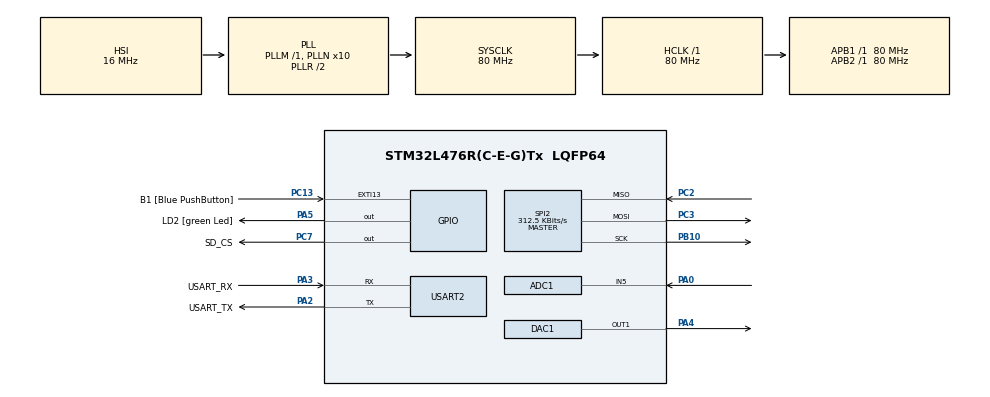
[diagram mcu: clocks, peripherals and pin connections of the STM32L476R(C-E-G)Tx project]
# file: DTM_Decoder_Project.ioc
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ADC1.Channel-0\#ChannelRegularConversion=ADC_CHANNEL_5
ADC1.DMAContinuousRequests=ENABLE
ADC1.ExternalTrigConv=ADC_EXTERNALTRIG_T6_TRGO
ADC1.NbrOfConversionFlag=1
ADC1.OffsetNumber-0\#ChannelRegularConversion=ADC_OFFSET_NONE
ADC1.Rank-0\#ChannelRegularConversion=1
ADC1.SamplingTime-0\#ChannelRegularConversion=ADC_SAMPLETIME_2CYCLES_5
ADC1.master=1
DAC1.DAC_Trigger-DAC_OUT1=DAC_TRIGGER_T6_TRGO
Dma.ADC1.0.Direction=DMA_PERIPH_TO_MEMORY
Dma.ADC1.0.Instance=DMA1_Channel1
Dma.ADC1.0.MemDataAlignment=DMA_MDATAALIGN_HALFWORD
Dma.ADC1.0.MemInc=DMA_MINC_ENABLE
Dma.ADC1.0.Mode=DMA_CIRCULAR
Dma.ADC1.0.PeriphDataAlignment=DMA_PDATAALIGN_HALFWORD
Dma.ADC1.0.PeriphInc=DMA_PINC_DISABLE
Dma.ADC1.0.Priority=DMA_PRIORITY_LOW
Dma.DAC_CH1.1.Direction=DMA_MEMORY_TO_PERIPH
Dma.DAC_CH1.1.Instance=DMA1_Channel3
Dma.DAC_CH1.1.MemDataAlignment=DMA_MDATAALIGN_HALFWORD
Dma.DAC_CH1.1.MemInc=DMA_MINC_ENABLE
Dma.DAC_CH1.1.Mode=DMA_CIRCULAR
Dma.DAC_CH1.1.PeriphDataAlignment=DMA_PDATAALIGN_HALFWORD
Dma.DAC_CH1.1.PeriphInc=DMA_PINC_DISABLE
Dma.DAC_CH1.1.Priority=DMA_PRIORITY_LOW
Dma.Request0=ADC1
Dma.Request1=DAC_CH1
Mcu.Family=STM32L4
Mcu.Name=STM32L476R(C-E-G)Tx
Mcu.Package=LQFP64
NVIC.DMA1_Channel1_IRQn=true\:0\:0\:false\:false\:true\:false\:true\:true
NVIC.DMA1_Channel3_IRQn=true\:0\:0\:false\:false\:true\:false\:true\:true
NVIC.EXTI15_10_IRQn=true\:0\:0\:false\:false\:true\:true\:true\:true
NVIC.PriorityGroup=NVIC_PRIORITYGROUP_4
PA0.Signal=ADCx_IN5
PA13\ (JTMS-SWDIO).GPIO_Label=TMS
PA13\ (JTMS-SWDIO).Mode=Serial_Wire
PA13\ (JTMS-SWDIO).Signal=SYS_JTMS-SWDIO
PA14\ (JTCK-SWCLK).GPIO_Label=TCK
PA14\ (JTCK-SWCLK).Mode=Serial_Wire
PA14\ (JTCK-SWCLK).Signal=SYS_JTCK-SWCLK
PA2.GPIO_Label=USART_TX
PA2.GPIO_Mode=GPIO_MODE_AF_PP
PA2.GPIO_PuPd=GPIO_NOPULL
PA2.GPIO_Speed=GPIO_SPEED_FREQ_VERY_HIGH
PA2.Mode=Asynchronous
PA2.Signal=USART2_TX
PA3.GPIO_Label=USART_RX
PA3.GPIO_Mode=GPIO_MODE_AF_PP
PA3.GPIO_PuPd=GPIO_NOPULL
PA3.GPIO_Speed=GPIO_SPEED_FREQ_VERY_HIGH
PA3.Mode=Asynchronous
PA3.Signal=USART2_RX
PA4.Signal=COMP_DAC11_group
PA5.GPIO_Label=LD2 [green Led]
PA5.GPIO_ModeDefaultOutputPP=GPIO_MODE_OUTPUT_PP
PA5.GPIO_PuPd=GPIO_NOPULL
PA5.GPIO_Speed=GPIO_SPEED_FREQ_LOW
PA5.Signal=GPIO_Output
PB10.Mode=Full_Duplex_Master
PB10.Signal=SPI2_SCK
PB3\ (JTDO-TRACESWO).GPIO_Label=SWO
PB3\ (JTDO-TRACESWO).Signal=SYS_JTDO-SWO
PC13.GPIO_Label=B1 [Blue PushButton]
PC13.GPIO_ModeDefaultEXTI=GPIO_MODE_IT_FALLING
PC13.GPIO_PuPd=GPIO_NOPULL
PC13.Signal=GPXTI13
PC14-OSC32_IN\ (PC14).Mode=LSE-External-Oscillator
PC14-OSC32_IN\ (PC14).Signal=RCC_OSC32_IN
PC15-OSC32_OUT\ (PC15).Mode=LSE-External-Oscillator
PC15-OSC32_OUT\ (PC15).Signal=RCC_OSC32_OUT
PC2.Mode=Full_Duplex_Master
PC2.Signal=SPI2_MISO
PC3.Mode=Full_Duplex_Master
PC3.Signal=SPI2_MOSI
PC7.GPIO_Label=SD_CS
PC7.Signal=GPIO_Output
PH0-OSC_IN\ (PH0).Signal=RCC_OSC_IN
PH1-OSC_OUT\ (PH1).Signal=RCC_OSC_OUT
ProjectManager.HeapSize=0x200
ProjectManager.StackSize=0x400
ProjectManager.TargetToolchain=STM32CubeIDE
RCC.ADCFreq_Value=64000000
RCC.AHBFreq_Value=80000000
RCC.APB1Freq_Value=80000000
RCC.APB1TimFreq_Value=80000000
RCC.APB2Freq_Value=80000000
RCC.APB2TimFreq_Value=80000000
RCC.CortexFreq_Value=80000000
RCC.HCLKFreq_Value=80000000
RCC.HSE_VALUE=8000000
RCC.HSI_VALUE=16000000
RCC.MSI_VALUE=4000000
RCC.PLLN=10
RCC.PLLSourceVirtual=RCC_PLLSOURCE_HSI
RCC.PREFETCH_ENABLE=1
RCC.SYSCLKFreq_VALUE=80000000
RCC.SYSCLKSource=RCC_SYSCLKSOURCE_PLLCLK
RCC.USBFreq_Value=64000000
RCC.VCOOutputFreq_Value=160000000
SH.ADCx_IN5.0=ADC1_IN5,IN5-Single-Ended
SH.COMP_DAC11_group.0=DAC1_OUT1,DAC_OUT1
SPI2.BaudRatePrescaler=SPI_BAUDRATEPRESCALER_256
SPI2.CalculateBaudRate=312.5 KBits/s
SPI2.DataSize=SPI_DATASIZE_8BIT
SPI2.Direction=SPI_DIRECTION_2LINES
SPI2.Mode=SPI_MODE_MASTER
SPI2.VirtualType=VM_MASTER
TIM6.Period=49
TIM6.Prescaler=79
TIM6.TIM_MasterOutputTrigger=TIM_TRGO_UPDATE
USART2.VirtualMode-Asynchronous=VM_ASYNC
VP_FATFS_VS_Generic.Mode=User_defined
VP_TIM6_VS_ClockSourceINT.Mode=Enable_Timer
board=NUCLEO-L476RG

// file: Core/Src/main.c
/* USER CODE BEGIN Header */
/**
  ******************************************************************************
  * @file           : main.c
  * @brief          : Main program body
  ******************************************************************************
  * @attention
  *
  * Copyright (c) 2024 STMicroelectronics.
  * All rights reserved.
  *
  * This software is licensed under terms that can be found in the LICENSE file
  * in the root directory of this software component.
  * If no LICENSE file comes with this software, it is provided AS-IS.
  *
  ******************************************************************************
  */
/* USER CODE END Header */
#include "main.h"
#include "fatfs.h"

/* USER CODE BEGIN Includes */
#include <stdio.h>
#include <stdarg.h>
#include "arm_math.h"
#include "wav_player.h"
/* USER CODE END Includes */

/* USER CODE BEGIN PTD */
typedef enum{
	ALL_KEYS, //Checks For ALL Specified Keys in the mask
	ANY_KEYS  //Checks For ANY DTMF Key Code
}Code_Sequence_Mode;
/* USER CODE END PTD */

/* USER CODE BEGIN PD */
#define DAC_BUFFER_SIZE 15u*2048
#define BUFFER_SIZE 2048
#define BUFFER_HALFSIZE 1024
#define FFT_LENGTH 2048
#define N_TAPS 32
#define N_BLOCK 32
#define SAMPLING_RATE 20000
/* USER CODE END PD */

ADC_HandleTypeDef hadc1;
DMA_HandleTypeDef hdma_adc1;

DAC_HandleTypeDef hdac1;
DMA_HandleTypeDef hdma_dac_ch1;

SPI_HandleTypeDef hspi2;

TIM_HandleTypeDef htim6;

UART_HandleTypeDef huart2;

/* USER CODE BEGIN PV */
uint16_t dac_buffer[DAC_BUFFER_SIZE];
uint16_t adc_buffer[BUFFER_SIZE];
float32_t input_signal[BUFFER_SIZE];
float32_t output_fft[FFT_LENGTH];
float32_t output_fft_mag[FFT_LENGTH/2];
float32_t output_fft_freq[FFT_LENGTH/2];
float32_t state[N_TAPS + N_BLOCK - 1];

uint16_t FLAG = 0;

static float32_t coeff[N_TAPS] = {
  -0.004321596631323414,
  -0.005152814576266107,
  -0.007114956251177061,
  -0.008402242541365729,
  -0.0082785116637233,
  -0.0059695981473415925,
  -0.0007953660993506074,
  0.007666395307462849,
  0.019477490844025627,
  0.03423210036270327,
  0.05106299019968595,
  0.06868925654691155,
  0.08555952663530968,
  0.10004618866353766,
  0.11066200257921187,
  0.11627631449955723,
  0.11627631449955723,
  0.11066200257921187,
  0.10004618866353766,
  0.08555952663530968,
  0.06868925654691155,
  0.05106299019968595,
  0.03423210036270327,
  0.019477490844025627,
  0.007666395307462849,
  -0.0007953660993506074,
  -0.0059695981473415925,
  -0.0082785116637233,
  -0.008402242541365729,
  -0.007114956251177061,
  -0.005152814576266107,
  -0.004321596631323414
};

arm_rfft_fast_instance_f32 fft_handler;
arm_fir_instance_f32 fir_filter;

PLAY_FILE audio_file;
P_STATE player_state;

/* USER CODE END PV */

void SystemClock_Config(void);
static void MX_GPIO_Init(void);
static void MX_DMA_Init(void);
static void MX_USART2_UART_Init(void);
static void MX_ADC1_Init(void);
static void MX_TIM6_Init(void);
static void MX_DAC1_Init(void);
static void MX_SPI2_Init(void);
/* USER CODE BEGIN PFP */
void Process_Signal();
void Get_DTMF_Code(int32_t*);
void Led_Audio_Control(int32_t mode);
void Evaluate_Code_Sequence(int32_t, int32_t*, int32_t*, Code_Sequence_Mode);
/* USER CODE END PFP */

/* USER CODE BEGIN 0 */
//Print Player Output Statuses Via UART
extern void myprintf(const char *fmt, ...) {
  static char buffer[256];
  va_list args;
  va_start(args, fmt);
  vsnprintf(buffer, sizeof(buffer), fmt, args);
  va_end(args);

  int len = strlen(buffer);
  HAL_UART_Transmit(&huart2, (uint8_t*)buffer, len, -1);

}
//Calculates the Output FFT of the Audio Signal from ADC
void Process_Signal(){

	//Calculate the output FFT Frequencies at 20kHz Sampling frequency
	for(int i = 0; i < FFT_LENGTH/2; i++){
		output_fft_freq[i] = (float)(i)/FFT_LENGTH * SAMPLING_RATE;
	}

//	float32_t filtered_signal[FFT_LENGTH];

	//Finite Impulse Response Filter applied to the input signal (passes signals with a freq band of 600Hz to 3.4kHz)
//	for(int i = 0; i < FFT_LENGTH/N_BLOCK; i++){
//		arm_fir_f32(&fir_filter, &input_signal[i*N_BLOCK], &filtered_signal[i*N_BLOCK], N_BLOCK);
//	}

	//Calculate the real output fft (output_fft consists of interleaved real and imaginary components)
	arm_rfft_fast_f32(&fft_handler, input_signal, output_fft, 0);
	//Calculate the magnitudes of the output_fft (first 2 output_fft values are purely real for the first and last output fft values)
	arm_cmplx_mag_f32(output_fft+2, output_fft_mag+1, FFT_LENGTH/2);

	//Store the first 2 purely real fft values into their respective position in the output_fft_mag array
	output_fft_mag[0] = output_fft[0];
	output_fft_mag[FFT_LENGTH/2-1] = output_fft[1];
}

//Analyzes The FFT of Audio Signal to Retrieve Already Present DTMF Code
void Get_DTMF_Code(int32_t* dtmf_code_out){
	/*
	 *                                      How It Works:
	 * Things To Note:
	 * 		1. The Output FFT's Frequency range has a resolution of 10 approximately.
	 * 			- (Equation A) resolution = (1 / FFT_LENGTH) * SAMPLING_FREQUENCY
	 *
	 * 		2. The index of a desired frequency/Magnitude can be found (using the equation above) by;
	 * 			- (Equation B) i = ( (DESIRED_FREQUENCY * FFT_LENGTH) / SAMPLING_FREQUENCY ) + 1
	 * 				- i = index
	 *
	 *		3. Rearranging the the above equation we can also find the frequency of a desired index value by:
	 *			- (Equation C)DESIRED_FREQUENCY_EQV = ((i * SAMPLING_FREQUENCY) / FFT_LENGTH) - resolution.
	 *				- i = index
	 *
	 *
	 * Algorithm:
	 *		- Find the Output FFT Magnitudes at the frequencies of interest locations.
	 *			1. Use Equation B above to find the index of the desired frequency. (DO NOT ROUND)
	 *			2. Use Equation C to find the equivalent desired freq when the resolution is taken to account.
	 *			4. Plug in the frequency gotten in step 2 to Equation B to find the index associated with the freq calculated in step 3.(ROUND THE RESULT)
	 *			5. Use the index found in step 4 together with the Output FFT Magnitude array to find the magnitude. (Matches with the magnitude of the desired freq)

	 *
	 *		- Add up the frequency magnitudes according to the corresponding DTMF Codes. Example;
	 *			- Magnitude of freq 697Hz + Magnitude of freq 1209Hz = DTMF CODE 1
	 *
	 *		- Find the DTMF Code that has the largest Magnitude and give that as the answer.
	 *
	 *
	 * */

	//DTMF Frequencies, Row frequencies stored first then Column frequencies
	int dtmf_freq[] = {697, 770, 852, 941, 1209, 1336, 1477, 1633};

	//DTMF Frequency's Magnitudes Represented as Rows and Cols Array
	float dtmf_freq_mag_rows[] = {0,0,0,0}; // in order 697Hz, 770Hz, 852Hz, 941Hz respectively
	float dtmf_freq_mag_cols[] = {0,0,0,0}; // in order 1209Hz, 1336Hz, 1477Hz, 1633Hz respectively

	//Stored in order 1,4,7,*,2,5,8,0,3,6,9,#,A,B,C,D respectively
	float32_t dtmf_mag[16];

	//Threshold for detecting true dtmf_code
	int32_t threshold = 100000;

	//Some temp Variables
	float32_t index = 0;
	int tmp_index = 0, max_mag_index = 0;

	//Setup the dtmf output code to negative in-case a code wasn't found
	*dtmf_code_out = -1;

	//Loop over each DTMF Frequency and calculate its Corresponding FFT Magnitude
	for(int i = 0; i < 8; i++){
		index = (int)(((dtmf_freq[i] * FFT_LENGTH) / SAMPLING_RATE) + 1);	//Find the index corresponding with dtmf_freq[i] (step 1.)

		if(output_fft_mag[(int)index] < output_fft_mag[(int)(index+0.5)])	//Compare magnitudes between the calculated index and the nxt index value to find the peak mag for the dtmf_freq[i]
			index = (int)(index+0.5);

		if(i < 4){	//Store the Row frequency Magnitudes
			dtmf_freq_mag_rows[i] = output_fft_mag[(int)index];
		}else{
			dtmf_freq_mag_cols[i-4] = output_fft_mag[(int)index];	//Store the Columns frequency Magnitudes

			//Calculate the DTMF MAG, 4 mag values are calculated on each run column wise.
			dtmf_mag[tmp_index]   = dtmf_freq_mag_rows[0] + dtmf_freq_mag_cols[i-4];
			dtmf_mag[tmp_index+1] = dtmf_freq_mag_rows[1] + dtmf_freq_mag_cols[i-4];
			dtmf_mag[tmp_index+2] = dtmf_freq_mag_rows[2] + dtmf_freq_mag_cols[i-4];
			dtmf_mag[tmp_index+3] = dtmf_freq_mag_rows[3] + dtmf_freq_mag_cols[i-4];

			//Find the Max Value out of the 4 mag values
			if(dtmf_mag[max_mag_index] < dtmf_mag[tmp_index+1])
				max_mag_index = tmp_index+1;
			if(dtmf_mag[max_mag_index] < dtmf_mag[tmp_index+2])
				max_mag_index = tmp_index+2;
			if(dtmf_mag[max_mag_index] < dtmf_mag[tmp_index+3])
				max_mag_index = tmp_index+3;
			if(dtmf_mag[max_mag_index] < dtmf_mag[tmp_index])
				max_mag_index = tmp_index;

			//Update the output dtmf code
			if(dtmf_mag[max_mag_index] > threshold)
				*dtmf_code_out = max_mag_index;
			tmp_index += 4;
		}
	}
}
/*
 * Evaluates The Occurence of a predefined Code Sequence.
 * Parameters;
	 * code   - Single digit input code received.
	 * length - code sequence length.
	 * mask   - mask that defines the accepted pass-key's positions. (0-15 bits used for the keys)
 * */
void Evaluate_Code_Sequence(int32_t code, int32_t* length, int32_t* mask, Code_Sequence_Mode mode){
	if(code < 0 || code > 15){
		Led_Audio_Control(0);
		return;
	}

	if(mode == ANY_KEYS){ //Accepts Any DTMF Code For a Success Condition
		Led_Audio_Control(1);
		return;
	}

	*mask = *mask ^ (1 << code);
	*length -= 1;

	if(*length < 1)
		Led_Audio_Control( *mask == 0 );	//Accepts one or more Specified DTMF Code(s) For a Success Condition
}
/* Controls the Led animation,
 * mode <= 0 Means Failure thus, repeated blinking Animation
 * mode >= 1 Means Success thus, led stays on for 2 seconds.
 * */
void Led_Audio_Control(int32_t mode){
	if(mode <= 0){
		for(int i = 0; i < 10; i++){
			HAL_GPIO_TogglePin(GPIOA, GPIO_PIN_5);
			HAL_Delay(100);
		}
		HAL_DAC_Start_DMA(&hdac1, DAC_CHANNEL_1, dac_buffer, DAC_BUFFER_SIZE, DAC_ALIGN_12B_R);
		init_player("booing.wav", dac_buffer, DAC_BUFFER_SIZE, &audio_file, &player_state);
		return;
	}

	HAL_GPIO_WritePin(GPIOA, GPIO_PIN_5, GPIO_PIN_SET);
	HAL_Delay(2000);
	HAL_GPIO_WritePin(GPIOA, GPIO_PIN_5, GPIO_PIN_RESET);

	HAL_DAC_Start_DMA(&hdac1, DAC_CHANNEL_1, dac_buffer, DAC_BUFFER_SIZE, DAC_ALIGN_12B_R);
	init_player("applause.wav", dac_buffer, DAC_BUFFER_SIZE, &audio_file, &player_state);
}
/* USER CODE END 0 */

int main(void)
{

  /* MCU Configuration--------------------------------------------------------*/

  /* Reset of all peripherals, Initializes the Flash interface and the Systick. */
  HAL_Init();

  /* Configure the system clock */
  SystemClock_Config();

  /* Initialize all configured peripherals */
  MX_GPIO_Init();
  MX_DMA_Init();
  MX_USART2_UART_Init();
  MX_ADC1_Init();
  MX_TIM6_Init();
  MX_DAC1_Init();
  MX_SPI2_Init();
  MX_FATFS_Init();
  /* USER CODE BEGIN 2 */
  HAL_TIM_Base_Start(&htim6);
  arm_rfft_fast_init_f32(&fft_handler, FFT_LENGTH);
  arm_fir_init_f32(&fir_filter, N_TAPS, &coeff[0], &state[0], N_BLOCK);

  int32_t pass_code_mask = 1 << 1 | 1 << 4 | 1 << 12 | 1 << 15; //= 4 2 A D
  int32_t sequence_length = 4;

//  int32_t pass_code_mask = 1 << 1 | 1 << 4 | 1 << 8 | 1 << 12;
  /* USER CODE END 2 */

  /* Infinite loop */
  while (1)
  {

    /* USER CODE BEGIN 3 */
	  player_error_handler(&audio_file, &player_state);
	  start_player_t16(&audio_file, &player_state);

	  if(FLAG){

	  		int32_t code = -1;

	  		Process_Signal();

	  		/* DTMF OUTPUT CODE KEY
	  		 * 0 - 3   = 1,4,7,* respectively
	  		 * 4 - 7   = 2,5,8,0 respectively
	  		 * 8 - 11  = 3,6,9,# respectively
	  		 * 12 - 15 = A,B,C,D respectively
	  		 * else = Code Not Found
	  		*/
	  		Get_DTMF_Code(&code); //7,9,c,d have problems getting detected
	  		Evaluate_Code_Sequence(code, &sequence_length, &pass_code_mask, ALL_KEYS);

	  		if(sequence_length <= 0){
	  			pass_code_mask = 1 << 1 | 1 << 4 | 1 << 12 | 1 << 15;
	  			sequence_length = 4;
	  		}

			FLAG = 0;
	  }
  }
  /* USER CODE END 3 */
}

void SystemClock_Config(void)
{
  RCC_OscInitTypeDef RCC_OscInitStruct = {0};
  RCC_ClkInitTypeDef RCC_ClkInitStruct = {0};

  /** Configure the main internal regulator output voltage
  */
  if (HAL_PWREx_ControlVoltageScaling(PWR_REGULATOR_VOLTAGE_SCALE1) != HAL_OK)
  {
    Error_Handler();
  }

  /** Initializes the RCC Oscillators according to the specified parameters
  * in the RCC_OscInitTypeDef structure.
  */
  RCC_OscInitStruct.OscillatorType = RCC_OSCILLATORTYPE_HSI;
  RCC_OscInitStruct.HSIState = RCC_HSI_ON;
  RCC_OscInitStruct.HSICalibrationValue = RCC_HSICALIBRATION_DEFAULT;
  RCC_OscInitStruct.PLL.PLLState = RCC_PLL_ON;
  RCC_OscInitStruct.PLL.PLLSource = RCC_PLLSOURCE_HSI;
  RCC_OscInitStruct.PLL.PLLM = 1;
  RCC_OscInitStruct.PLL.PLLN = 10;
  RCC_OscInitStruct.PLL.PLLP = RCC_PLLP_DIV7;
  RCC_OscInitStruct.PLL.PLLQ = RCC_PLLQ_DIV2;
  RCC_OscInitStruct.PLL.PLLR = RCC_PLLR_DIV2;
  if (HAL_RCC_OscConfig(&RCC_OscInitStruct) != HAL_OK)
  {
    Error_Handler();
  }

  /** Initializes the CPU, AHB and APB buses clocks
  */
  RCC_ClkInitStruct.ClockType = RCC_CLOCKTYPE_HCLK|RCC_CLOCKTYPE_SYSCLK
                              |RCC_CLOCKTYPE_PCLK1|RCC_CLOCKTYPE_PCLK2;
  RCC_ClkInitStruct.SYSCLKSource = RCC_SYSCLKSOURCE_PLLCLK;
  RCC_ClkInitStruct.AHBCLKDivider = RCC_SYSCLK_DIV1;
  RCC_ClkInitStruct.APB1CLKDivider = RCC_HCLK_DIV1;
  RCC_ClkInitStruct.APB2CLKDivider = RCC_HCLK_DIV1;

  if (HAL_RCC_ClockConfig(&RCC_ClkInitStruct, FLASH_LATENCY_4) != HAL_OK)
  {
    Error_Handler();
  }
}

static void MX_ADC1_Init(void)
{

  ADC_MultiModeTypeDef multimode = {0};
  ADC_ChannelConfTypeDef sConfig = {0};

  /** Common config
  */
  hadc1.Instance = ADC1;
  hadc1.Init.ClockPrescaler = ADC_CLOCK_ASYNC_DIV1;
  hadc1.Init.Resolution = ADC_RESOLUTION_12B;
  hadc1.Init.DataAlign = ADC_DATAALIGN_RIGHT;
  hadc1.Init.ScanConvMode = ADC_SCAN_DISABLE;
  hadc1.Init.EOCSelection = ADC_EOC_SINGLE_CONV;
  hadc1.Init.LowPowerAutoWait = DISABLE;
  hadc1.Init.ContinuousConvMode = DISABLE;
  hadc1.Init.NbrOfConversion = 1;
  hadc1.Init.DiscontinuousConvMode = DISABLE;
  hadc1.Init.ExternalTrigConv = ADC_EXTERNALTRIG_T6_TRGO;
  hadc1.Init.ExternalTrigConvEdge = ADC_EXTERNALTRIGCONVEDGE_RISING;
  hadc1.Init.DMAContinuousRequests = ENABLE;
  hadc1.Init.Overrun = ADC_OVR_DATA_PRESERVED;
  hadc1.Init.OversamplingMode = DISABLE;
  if (HAL_ADC_Init(&hadc1) != HAL_OK)
  {
    Error_Handler();
  }

  /** Configure the ADC multi-mode
  */
  multimode.Mode = ADC_MODE_INDEPENDENT;
  if (HAL_ADCEx_MultiModeConfigChannel(&hadc1, &multimode) != HAL_OK)
  {
    Error_Handler();
  }

  /** Configure Regular Channel
  */
  sConfig.Channel = ADC_CHANNEL_5;
  sConfig.Rank = ADC_REGULAR_RANK_1;
  sConfig.SamplingTime = ADC_SAMPLETIME_2CYCLES_5;
  sConfig.SingleDiff = ADC_SINGLE_ENDED;
  sConfig.OffsetNumber = ADC_OFFSET_NONE;
  sConfig.Offset = 0;
  if (HAL_ADC_ConfigChannel(&hadc1, &sConfig) != HAL_OK)
  {
    Error_Handler();
  }

}

static void MX_DAC1_Init(void)
{

  DAC_ChannelConfTypeDef sConfig = {0};

  /** DAC Initialization
  */
  hdac1.Instance = DAC1;
  if (HAL_DAC_Init(&hdac1) != HAL_OK)
  {
    Error_Handler();
  }

  /** DAC channel OUT1 config
  */
  sConfig.DAC_SampleAndHold = DAC_SAMPLEANDHOLD_DISABLE;
  sConfig.DAC_Trigger = DAC_TRIGGER_T6_TRGO;
  sConfig.DAC_OutputBuffer = DAC_OUTPUTBUFFER_ENABLE;
  sConfig.DAC_ConnectOnChipPeripheral = DAC_CHIPCONNECT_DISABLE;
  sConfig.DAC_UserTrimming = DAC_TRIMMING_FACTORY;
  if (HAL_DAC_ConfigChannel(&hdac1, &sConfig, DAC_CHANNEL_1) != HAL_OK)
  {
    Error_Handler();
  }

}

static void MX_SPI2_Init(void)
{

  /* SPI2 parameter configuration*/
  hspi2.Instance = SPI2;
  hspi2.Init.Mode = SPI_MODE_MASTER;
  hspi2.Init.Direction = SPI_DIRECTION_2LINES;
  hspi2.Init.DataSize = SPI_DATASIZE_8BIT;
  hspi2.Init.CLKPolarity = SPI_POLARITY_LOW;
  hspi2.Init.CLKPhase = SPI_PHASE_1EDGE;
  hspi2.Init.NSS = SPI_NSS_SOFT;
  hspi2.Init.BaudRatePrescaler = SPI_BAUDRATEPRESCALER_256;
  hspi2.Init.FirstBit = SPI_FIRSTBIT_MSB;
  hspi2.Init.TIMode = SPI_TIMODE_DISABLE;
  hspi2.Init.CRCCalculation = SPI_CRCCALCULATION_DISABLE;
  hspi2.Init.CRCPolynomial = 7;
  hspi2.Init.CRCLength = SPI_CRC_LENGTH_DATASIZE;
  hspi2.Init.NSSPMode = SPI_NSS_PULSE_ENABLE;
  if (HAL_SPI_Init(&hspi2) != HAL_OK)
  {
    Error_Handler();
  }

}

static void MX_TIM6_Init(void)
{

  TIM_MasterConfigTypeDef sMasterConfig = {0};

  htim6.Instance = TIM6;
  htim6.Init.Prescaler = 79;
  htim6.Init.CounterMode = TIM_COUNTERMODE_UP;
  htim6.Init.Period = 49;
  htim6.Init.AutoReloadPreload = TIM_AUTORELOAD_PRELOAD_DISABLE;
  if (HAL_TIM_Base_Init(&htim6) != HAL_OK)
  {
    Error_Handler();
  }
  sMasterConfig.MasterOutputTrigger = TIM_TRGO_UPDATE;
  sMasterConfig.MasterSlaveMode = TIM_MASTERSLAVEMODE_DISABLE;
  if (HAL_TIMEx_MasterConfigSynchronization(&htim6, &sMasterConfig) != HAL_OK)
  {
    Error_Handler();
  }

}

static void MX_USART2_UART_Init(void)
{

  huart2.Instance = USART2;
  huart2.Init.BaudRate = 115200;
  huart2.Init.WordLength = UART_WORDLENGTH_8B;
  huart2.Init.StopBits = UART_STOPBITS_1;
  huart2.Init.Parity = UART_PARITY_NONE;
  huart2.Init.Mode = UART_MODE_TX_RX;
  huart2.Init.HwFlowCtl = UART_HWCONTROL_NONE;
  huart2.Init.OverSampling = UART_OVERSAMPLING_16;
  huart2.Init.OneBitSampling = UART_ONE_BIT_SAMPLE_DISABLE;
  huart2.AdvancedInit.AdvFeatureInit = UART_ADVFEATURE_NO_INIT;
  if (HAL_UART_Init(&huart2) != HAL_OK)
  {
    Error_Handler();
  }

}

static void MX_DMA_Init(void)
{

  /* DMA controller clock enable */
  __HAL_RCC_DMA1_CLK_ENABLE();

  /* DMA interrupt init */
  /* DMA1_Channel1_IRQn interrupt configuration */
  HAL_NVIC_SetPriority(DMA1_Channel1_IRQn, 0, 0);
  HAL_NVIC_EnableIRQ(DMA1_Channel1_IRQn);
  /* DMA1_Channel3_IRQn interrupt configuration */
  HAL_NVIC_SetPriority(DMA1_Channel3_IRQn, 0, 0);
  HAL_NVIC_EnableIRQ(DMA1_Channel3_IRQn);

}

static void MX_GPIO_Init(void)
{
  GPIO_InitTypeDef GPIO_InitStruct = {0};

  /* GPIO Ports Clock Enable */
  __HAL_RCC_GPIOC_CLK_ENABLE();
  __HAL_RCC_GPIOH_CLK_ENABLE();
  __HAL_RCC_GPIOA_CLK_ENABLE();
  __HAL_RCC_GPIOB_CLK_ENABLE();

  /*Configure GPIO pin Output Level */
  HAL_GPIO_WritePin(LD2_GPIO_Port, LD2_Pin, GPIO_PIN_RESET);

  /*Configure GPIO pin Output Level */
  HAL_GPIO_WritePin(SD_CS_GPIO_Port, SD_CS_Pin, GPIO_PIN_RESET);

  /*Configure GPIO pin : B1_Pin */
  GPIO_InitStruct.Pin = B1_Pin;
  GPIO_InitStruct.Mode = GPIO_MODE_IT_FALLING;
  GPIO_InitStruct.Pull = GPIO_NOPULL;
  HAL_GPIO_Init(B1_GPIO_Port, &GPIO_InitStruct);

  /*Configure GPIO pin : LD2_Pin */
  GPIO_InitStruct.Pin = LD2_Pin;
  GPIO_InitStruct.Mode = GPIO_MODE_OUTPUT_PP;
  GPIO_InitStruct.Pull = GPIO_NOPULL;
  GPIO_InitStruct.Speed = GPIO_SPEED_FREQ_LOW;
  HAL_GPIO_Init(LD2_GPIO_Port, &GPIO_InitStruct);

  /*Configure GPIO pin : SD_CS_Pin */
  GPIO_InitStruct.Pin = SD_CS_Pin;
  GPIO_InitStruct.Mode = GPIO_MODE_OUTPUT_PP;
  GPIO_InitStruct.Pull = GPIO_NOPULL;
  GPIO_InitStruct.Speed = GPIO_SPEED_FREQ_LOW;
  HAL_GPIO_Init(SD_CS_GPIO_Port, &GPIO_InitStruct);

  /* EXTI interrupt init*/
  HAL_NVIC_SetPriority(EXTI15_10_IRQn, 0, 0);
  HAL_NVIC_EnableIRQ(EXTI15_10_IRQn);

}

/* USER CODE BEGIN 4 */
void HAL_GPIO_EXTI_Callback(uint16_t GPIO_Pin){
	HAL_ADC_Start_DMA(&hadc1, adc_buffer, BUFFER_SIZE);
}

void HAL_ADC_ConvHalfCpltCallback(ADC_HandleTypeDef* hadc){
	for(int i = 0; i < BUFFER_HALFSIZE; i++){
		input_signal[i] = adc_buffer[i];
	}
}

void HAL_ADC_ConvCpltCallback(ADC_HandleTypeDef* hadc){
	HAL_ADC_Stop_DMA(&hadc1);
	for(int i = BUFFER_HALFSIZE; i < BUFFER_SIZE; i++){
		input_signal[i] = adc_buffer[i];
	}
	FLAG = 1;
//	process_signal(&adc_buffer[0], &output_fft_freq[0]);
}

void HAL_DAC_ConvHalfCpltCallbackCh1(DAC_HandleTypeDef* hdac){

}

void HAL_DAC_ConvCpltCallbackCh1(DAC_HandleTypeDef* hdac){
	if((player_state & (CLOSE_FILE | PLAY_ERROR)) > 0 || player_state == 0){
		HAL_DAC_Stop_DMA(&hdac1, DAC_CHANNEL_1);
		for(int i = 0; i < DAC_BUFFER_SIZE; i++){ //ZERO OUT THE BUFFER FROM ANY REMAINING AUDIO
			dac_buffer[i] = 0;
		}
	}
}
/* USER CODE END 4 */

void Error_Handler(void)
{
  __disable_irq();
  while (1)
  {
  }
}
